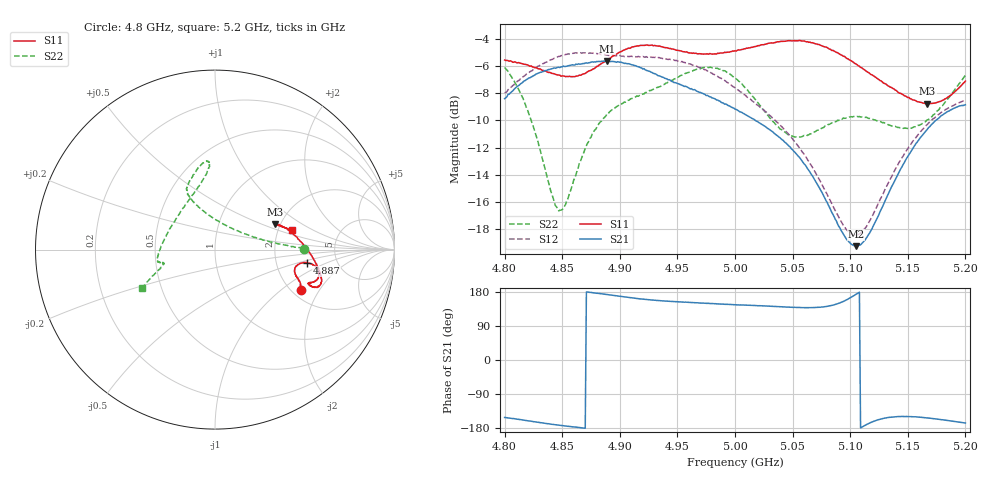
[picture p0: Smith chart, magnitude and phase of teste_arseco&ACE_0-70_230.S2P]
! Network Analyzer HP8722D
! Hewlett-Packard
! Data name: Linha & Wilkinson
! Saver's name: Rodrigo Anjos
! Comments: Teste da utilização de aquisição
! continua pelo VNA HP8722D
! Time and date: 8/5/2025 14:40
!  Frequency  S11  S21  S12  S22
# HZ  S  MA R 50
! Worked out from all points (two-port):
!   401 points, 4.8 GHz to 5.2 GHz, reference 50 ohm
!   highest |S21| = -5.65 dB at 4.889 GHz (marker M1); lowest = -19.2 dB at 5.105 GHz (marker M2)
!   |S21| within 3 dB of the highest: start of sweep to 4.988 GHz
!   lowest |S11| = -8.8 dB at 5.167 GHz (marker M3), VSWR 2.14, Z = 93.8 + j30.7 ohm
!   |S11| at or under -10 dB: nowhere
!   |S22| runs from -16.6 to -6.1 dB; largest |S21 - S12| = 1.1
!   S11 on the Smith chart (normalised r, x): 4.8 GHz: 2.24, -1.38; 4.887 GHz: 3.02, -0.61; 5.2 GHz: 2.36, +0.65
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4.8e9  0.5262 -25.0  0.3797 -151.6  0.3992 7.5  0.4941 0.7
4.82e9  0.5045 -20.6  0.4488 -160.2  0.4707 4.7  0.3441 5.9
4.846e9  0.4639 -16.3  0.4948 -171.6  0.5401 0.5  0.1501 54.1
4.853e9  0.4573 -14.7  0.4986 -174.2  0.5515 -0.7  0.1556 80.4
4.867e9  0.4653 -11.1  0.5096 -179.0  0.5576 -2.6  0.2312 108.0
4.887e9  0.519 -8.1  0.5215 173.5  0.5515 -3.6  0.3251 115.7
4.889e9  0.5269 -8.1  0.5216 172.9  0.5492 -3.7  0.3347 115.9
4.912e9  0.5884 -11.5  0.5034 163.5  0.5413 -3.0  0.3813 113.9
4.934e9  0.5922 -16.8  0.4609 156.7  0.5376 -3.8  0.4189 108.2
4.974e9  0.554 -19.9  0.3934 149.9  0.485 -7.5  0.4949 96.1
5e9  0.5691 -20.7  0.3478 145.8  0.4172 -7.3  0.4546 94.6
5.018e9  0.5903 -20.8  0.315 143.7  0.3622 -4.2  0.3756 102.5
5.045e9  0.6182 -18.4  0.2593 139.6  0.286 1.4  0.2827 134.0
5.067e9  0.6092 -14.0  0.1985 138.2  0.2136 8.6  0.283 165.2
5.094e9  0.543 -4.3  0.1211 154.5  0.1304 34.3  0.3224 -173.0
5.105e9  0.5092 0.9  0.1093 173.3  0.1199 55.5  0.3258 -169.5
5.116e9  0.4731 6.4  0.1203 -167.8  0.1333 76.2  0.3214 -167.5
5.134e9  0.4207 15.3  0.1734 -151.3  0.1897 94.2  0.3039 -166.3
5.152e9  0.3795 21.6  0.2402 -149.3  0.2559 99.2  0.2965 -164.9
5.167e9  0.3638 23.0  0.2933 -152.9  0.3054 99.8  0.3175 -161.5
5.182e9  0.3784 20.8  0.3351 -158.5  0.3442 99.8  0.3667 -157.6
5.2e9  0.4405 14.6  0.3607 -166.3  0.3746 100.3  0.4621 -152.1
